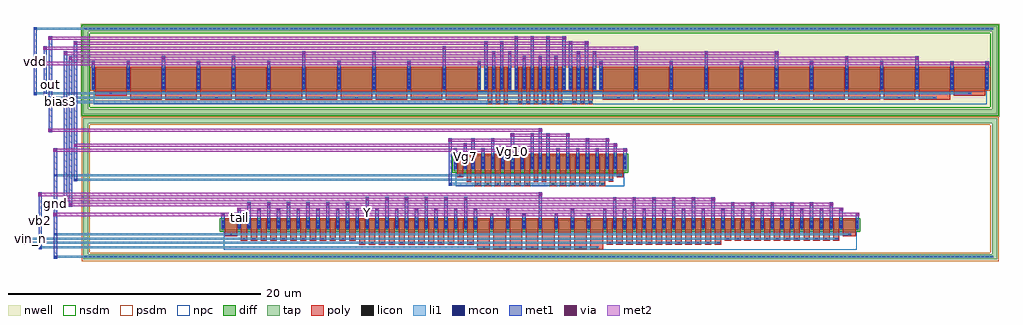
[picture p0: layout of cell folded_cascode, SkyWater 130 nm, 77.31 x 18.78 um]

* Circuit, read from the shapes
.subckt folded_cascode Vg10 Vg7 Vg9 X Y bias3 gnd out tail vb1 vb2 vdd vin_n vin_p
XM1 tail gnd gnd gnd sky130_fd_pr__nfet_01v8 w=0.84 l=1 m=2
XM2 X vin_n tail gnd sky130_fd_pr__nfet_01v8 w=0.84 l=0.5 m=24
XM3 Y vin_p tail gnd sky130_fd_pr__nfet_01v8 w=0.84 l=0.5 m=24
XM4 Vg7 gnd gnd gnd sky130_fd_pr__nfet_01v8 w=1.26 l=0.5 m=2
XM5 Vg9 Vg7 Vg7 gnd sky130_fd_pr__nfet_01v8 w=1.26 l=0.35 m=2
XM6 gnd Vg9 Vg9 gnd sky130_fd_pr__nfet_01v8 w=1.26 l=0.5 m=6
XM7 gnd vb2 tail gnd sky130_fd_pr__nfet_01v8 w=0.84 l=1 m=6
XM8 Vg10 Vg9 gnd gnd sky130_fd_pr__nfet_01v8 w=1.26 l=0.5 m=6
XM9 vb2 vb2 gnd gnd sky130_fd_pr__nfet_01v8 w=0.84 l=1 m=2
XM10 out Vg7 Vg10 gnd sky130_fd_pr__nfet_01v8 w=1.26 l=0.35 m=2
XM11 vdd vdd vdd vdd sky130_fd_pr__pfet_01v8 w=1.65 l=2.5 m=2
XM12 X vb1 vdd vdd sky130_fd_pr__pfet_01v8 w=1.65 l=2.5 m=8
XM13 Y vb1 vdd vdd sky130_fd_pr__pfet_01v8 w=1.65 l=2.5 m=8
XM14 vb1 vb1 vdd vdd sky130_fd_pr__pfet_01v8 w=1.65 l=2.5 m=4
XM15 Y bias3 Vg7 vdd sky130_fd_pr__pfet_01v8 w=1.65 l=0.35 m=6
XM16 X bias3 out vdd sky130_fd_pr__pfet_01v8 w=1.65 l=0.35 m=6
.ends

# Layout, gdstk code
import gdstk
lib = gdstk.Library(unit=1e-6, precision=1e-09)
def R(c, l, rs):  # rectangles x0, y0, x1, y1
    for r in rs: c.add(gdstk.rectangle(r[:2], r[2:], *l))
def A(c, l, x, y, w, h, nx, ny, dx, dy):  # array of equal rectangles
    R(c, l, [(x+i*dx, y+j*dy, x+i*dx+w, y+j*dy+h) for i in range(nx) for j in range(ny)])
nwell = (64, 20)
diff = (65, 20)
tap = (65, 44)
poly = (66, 20)
licon = (66, 44)
li1 = (67, 20)
mcon = (67, 44)
met1 = (68, 20)
via = (68, 44)
met2 = (69, 20)
nsdm = (93, 44)
psdm = (94, 20)
npc = (95, 20)

folded_cascode = lib.new_cell('folded_cascode')
R(folded_cascode, nwell, [(-0.86,11.32,71.91,18.65)])
R(folded_cascode, diff, [(10.28,2.31,60.77,3.15), (28.68,6.98,42.37,8.24), (0,13.47,30.83,15.12), (31.1,13.47,33.24,15.12), (33.51,13.47,37.54,15.12), (37.81,13.47,39.95,15.12), (40.22,13.47,71.05,15.12)])
R(folded_cascode, tap, [(-0.68,0,71.73,0.41), (-0.68,0,-0.27,11.19), (71.32,0,71.73,11.19), (-0.68,10.78,71.73,11.19), (-0.68,11.5,71.73,11.91), (-0.68,11.5,-0.27,18.47), (71.32,11.5,71.73,18.47), (-0.68,18.06,71.73,18.47)])
A(folded_cascode, poly, 30.545, 0.805, 1, 2.475, 8, 1, 1.28, 0)
A(folded_cascode, poly, 21.185, 1.145, 0.5, 2.135, 12, 1, 0.78, 0)
A(folded_cascode, poly, 40.785, 1.145, 0.5, 2.135, 12, 1, 0.78, 0)
A(folded_cascode, poly, 11.825, 1.485, 0.5, 1.795, 12, 1, 0.78, 0)
A(folded_cascode, poly, 50.145, 1.485, 0.5, 1.795, 12, 1, 0.78, 0)
A(folded_cascode, poly, 30.355, 5.815, 0.5, 2.555, 6, 1, 0.78, 0)
A(folded_cascode, poly, 36.295, 5.815, 0.5, 2.555, 6, 1, 0.78, 0)
A(folded_cascode, poly, 31.365, 12.305, 0.35, 2.945, 3, 1, 0.63, 0)
A(folded_cascode, poly, 33.775, 12.305, 0.35, 2.945, 6, 1, 0.63, 0)
A(folded_cascode, poly, 38.075, 12.305, 0.35, 2.945, 3, 1, 0.63, 0)
A(folded_cascode, poly, 3.045, 12.645, 2.5, 2.605, 10, 1, 2.78, 0)
A(folded_cascode, poly, 40.485, 12.645, 2.5, 2.605, 10, 1, 2.78, 0)
R(folded_cascode, poly, [(10.545,1.825,11.545,3.28), (59.505,1.825,60.505,3.28), (29.725,6.155,30.075,8.37), (35.035,6.155,35.385,8.37), (35.665,6.155,36.015,8.37), (40.975,6.155,41.325,8.37), (28.945,6.495,29.445,8.37), (41.605,6.495,42.105,8.37), (0.265,12.985,2.765,15.25), (68.285,12.985,70.785,15.25)])
A(folded_cascode, licon, -0.56, 0.12, 0.17, 0.17, 212, 2, 0.34, 18.06)
A(folded_cascode, licon, 30.96, 0.885, 0.17, 0.17, 8, 1, 1.28, 0)
A(folded_cascode, licon, 21.35, 1.225, 0.17, 0.17, 12, 1, 0.78, 0)
A(folded_cascode, licon, 40.95, 1.225, 0.17, 0.17, 12, 1, 0.78, 0)
A(folded_cascode, licon, 11.99, 1.565, 0.17, 0.17, 12, 1, 0.78, 0)
A(folded_cascode, licon, 50.31, 1.565, 0.17, 0.17, 12, 1, 0.78, 0)
A(folded_cascode, licon, 11.6, 2.475, 0.17, 0.17, 25, 2, 0.78, 0.34)
A(folded_cascode, licon, 31.6, 2.475, 0.17, 0.17, 8, 2, 1.28, 0.34)
A(folded_cascode, licon, 41.34, 2.475, 0.17, 0.17, 24, 2, 0.78, 0.34)
A(folded_cascode, licon, 30.52, 5.895, 0.17, 0.17, 6, 1, 0.78, 0)
A(folded_cascode, licon, 36.46, 5.895, 0.17, 0.17, 6, 1, 0.78, 0)
A(folded_cascode, licon, 28.72, 7.185, 0.17, 0.17, 1, 3, 0, 0.34)
A(folded_cascode, licon, 29.5, 7.185, 0.17, 0.17, 1, 3, 0, 0.34)
A(folded_cascode, licon, 30.13, 7.185, 0.17, 0.17, 7, 3, 0.78, 0.34)
A(folded_cascode, licon, 35.44, 7.185, 0.17, 0.17, 1, 3, 0, 0.34)
A(folded_cascode, licon, 36.07, 7.185, 0.17, 0.17, 7, 3, 0.78, 0.34)
A(folded_cascode, licon, 41.38, 7.185, 0.17, 0.17, 1, 3, 0, 0.34)
A(folded_cascode, licon, 42.16, 7.185, 0.17, 0.17, 1, 3, 0, 0.34)
A(folded_cascode, licon, 31.455, 12.385, 0.17, 0.17, 3, 1, 0.63, 0)
A(folded_cascode, licon, 33.865, 12.385, 0.17, 0.17, 6, 1, 0.63, 0)
A(folded_cascode, licon, 38.165, 12.385, 0.17, 0.17, 3, 1, 0.63, 0)
A(folded_cascode, licon, 4.21, 12.725, 0.17, 0.17, 10, 1, 2.78, 0)
A(folded_cascode, licon, 41.65, 12.725, 0.17, 0.17, 10, 1, 2.78, 0)
A(folded_cascode, licon, 0.04, 13.53, 0.17, 0.17, 12, 5, 2.78, 0.34)
A(folded_cascode, licon, 31.14, 13.53, 0.17, 0.17, 4, 5, 0.63, 0.34)
A(folded_cascode, licon, 33.55, 13.53, 0.17, 0.17, 7, 5, 0.63, 0.34)
A(folded_cascode, licon, 37.85, 13.53, 0.17, 0.17, 4, 5, 0.63, 0.34)
A(folded_cascode, licon, 40.26, 13.53, 0.17, 0.17, 12, 5, 2.78, 0.34)
R(folded_cascode, licon, [(10.96,1.905,11.13,2.075), (59.92,1.905,60.09,2.075), (10.32,2.475,10.49,2.645), (60.56,2.475,60.73,2.645), (10.32,2.815,10.49,2.985), (60.56,2.815,60.73,2.985), (29.815,6.235,29.985,6.405), (35.125,6.235,35.295,6.405), (35.755,6.235,35.925,6.405), (41.065,6.235,41.235,6.405), (29.11,6.575,29.28,6.745), (41.77,6.575,41.94,6.745), (1.43,13.065,1.6,13.235), (69.45,13.065,69.62,13.235)])
A(folded_cascode, li1, 11.6, 2.395, 0.17, 0.67, 25, 1, 0.78, 0)
A(folded_cascode, li1, 31.6, 2.395, 0.17, 0.67, 8, 1, 1.28, 0)
A(folded_cascode, li1, 41.34, 2.395, 0.17, 0.67, 24, 1, 0.78, 0)
A(folded_cascode, li1, 30.13, 7.105, 0.17, 1.01, 7, 1, 0.78, 0)
A(folded_cascode, li1, 36.07, 7.105, 0.17, 1.01, 7, 1, 0.78, 0)
A(folded_cascode, li1, 0.04, 13.45, 0.17, 1.69, 12, 1, 2.78, 0)
A(folded_cascode, li1, 31.14, 13.45, 0.17, 1.69, 4, 1, 0.63, 0)
A(folded_cascode, li1, 33.55, 13.45, 0.17, 1.69, 7, 1, 0.63, 0)
A(folded_cascode, li1, 37.85, 13.45, 0.17, 1.69, 4, 1, 0.63, 0)
A(folded_cascode, li1, 40.26, 13.45, 0.17, 1.69, 12, 1, 2.78, 0)
R(folded_cascode, li1, [(-3,0.12,71.43,0.29), (-4.2,0.885,40.17,1.055), (-5.4,1.225,49.78,1.395), (-5,1.565,59.14,1.735), (-3,1.905,60.17,2.075), (10.32,2.395,10.49,3.065), (60.56,2.395,60.73,3.065), (28.275,5.895,40.61,6.065), (-1.4,6.235,41.315,6.405), (-3,6.575,42.02,6.745), (28.72,7.105,28.89,8.115), (29.5,7.105,29.67,8.115), (35.44,7.105,35.61,8.115), (41.38,7.105,41.55,8.115), (42.16,7.105,42.33,8.115), (-2.6,12.385,39.675,12.555), (-3.8,12.725,66.92,12.895), (-4.6,13.065,69.7,13.235), (-4.6,18.18,71.43,18.35)])
A(folded_cascode, mcon, 11.6, 2.535, 0.17, 0.17, 25, 2, 0.78, 0.36)
A(folded_cascode, mcon, 31.6, 2.535, 0.17, 0.17, 8, 2, 1.28, 0.36)
A(folded_cascode, mcon, 41.34, 2.535, 0.17, 0.17, 24, 2, 0.78, 0.36)
A(folded_cascode, mcon, 28.72, 7.225, 0.17, 0.17, 1, 3, 0, 0.36)
A(folded_cascode, mcon, 29.5, 7.225, 0.17, 0.17, 1, 3, 0, 0.36)
A(folded_cascode, mcon, 30.13, 7.225, 0.17, 0.17, 7, 3, 0.78, 0.36)
A(folded_cascode, mcon, 35.44, 7.225, 0.17, 0.17, 1, 3, 0, 0.36)
A(folded_cascode, mcon, 36.07, 7.225, 0.17, 0.17, 7, 3, 0.78, 0.36)
A(folded_cascode, mcon, 41.38, 7.225, 0.17, 0.17, 1, 3, 0, 0.36)
A(folded_cascode, mcon, 42.16, 7.225, 0.17, 0.17, 1, 3, 0, 0.36)
A(folded_cascode, mcon, 0.04, 13.53, 0.17, 0.17, 12, 5, 2.78, 0.36)
A(folded_cascode, mcon, 31.14, 13.53, 0.17, 0.17, 4, 5, 0.63, 0.36)
A(folded_cascode, mcon, 33.55, 13.53, 0.17, 0.17, 7, 5, 0.63, 0.36)
A(folded_cascode, mcon, 37.85, 13.53, 0.17, 0.17, 4, 5, 0.63, 0.36)
A(folded_cascode, mcon, 40.26, 13.53, 0.17, 0.17, 12, 5, 2.78, 0.36)
R(folded_cascode, mcon, [(-2.955,0.12,-2.785,0.29), (-4.155,0.885,-3.985,1.055), (-5.355,1.225,-5.185,1.395), (-4.955,1.565,-4.785,1.735), (-2.955,1.905,-2.785,2.075), (10.32,2.535,10.49,2.705), (60.56,2.535,60.73,2.705), (10.32,2.895,10.49,3.065), (60.56,2.895,60.73,3.065), (28.32,5.895,28.49,6.065), (-1.355,6.235,-1.185,6.405), (-2.955,6.575,-2.785,6.745), (-2.555,12.385,-2.385,12.555), (-3.755,12.725,-3.585,12.895), (-4.555,13.065,-4.385,13.235), (-4.555,18.18,-4.385,18.35)])
A(folded_cascode, met1, 11.555, 2.475, 0.26, 1.635, 13, 1, 1.56, 0)
A(folded_cascode, met1, 12.335, 2.475, 0.26, 2.035, 6, 1, 1.56, 0)
A(folded_cascode, met1, 21.695, 2.475, 0.26, 2.435, 6, 1, 1.56, 0)
A(folded_cascode, met1, 31.555, 2.475, 0.26, 1.235, 4, 1, 2.56, 0)
A(folded_cascode, met1, 40.515, 2.475, 0.26, 1.635, 13, 1, 1.56, 0)
A(folded_cascode, met1, 41.295, 2.475, 0.26, 2.435, 6, 1, 1.56, 0)
A(folded_cascode, met1, 50.655, 2.475, 0.26, 2.035, 6, 1, 1.56, 0)
A(folded_cascode, met1, 30.865, 7.165, 0.26, 1.635, 3, 1, 1.56, 0)
A(folded_cascode, met1, 36.805, 7.165, 0.26, 1.635, 3, 1, 1.56, 0)
A(folded_cascode, met1, 2.775, 13.47, 0.26, 2.21, 6, 1, 5.56, 0)
A(folded_cascode, met1, 33.505, 13.47, 0.26, 4.21, 4, 1, 1.26, 0)
A(folded_cascode, met1, 34.135, 13.47, 0.26, 2.61, 3, 1, 1.26, 0)
A(folded_cascode, met1, 40.215, 13.47, 0.26, 2.21, 6, 1, 5.56, 0)
R(folded_cascode, met1, [(-3,0.06,-2.74,8.8), (-4.2,0.825,-3.94,5.31), (-5.4,1.165,-5.14,1.49), (-5,1.505,-4.74,1.83), (10.275,2.475,10.535,3.71), (32.835,2.475,33.095,4.11), (35.395,2.475,35.655,5.31), (37.955,2.475,38.215,4.11), (60.515,2.475,60.775,3.71), (-1.8,4.19,-1.54,16.08), (-2.2,4.59,-1.94,16.48), (28.275,5.835,28.535,9.6), (-1.4,6.175,-1.14,17.28), (28.675,7.165,28.935,8.8), (29.455,7.165,29.715,9.2), (30.085,7.165,30.345,9.6), (31.645,7.165,31.905,9.6), (33.205,7.165,33.465,10), (34.765,7.165,35.025,10), (35.395,7.165,35.655,10.4), (36.025,7.165,36.285,10), (37.585,7.165,37.845,10), (39.145,7.165,39.405,9.6), (40.705,7.165,40.965,9.6), (41.335,7.165,41.595,9.2), (42.115,7.165,42.375,8.8), (-3.4,10.08,-3.14,17.68), (-2.6,12.325,-2.34,12.65), (-3.8,12.665,-3.54,16.88), (-4.6,13.005,-4.34,18.41), (-0.005,13.47,0.255,15.68), (5.555,13.47,5.815,16.08), (11.115,13.47,11.375,16.08), (16.675,13.47,16.935,16.48), (22.235,13.47,22.495,16.48), (27.795,13.47,28.055,16.88), (31.095,13.47,31.355,17.28), (31.725,13.47,31.985,16.48), (32.355,13.47,32.615,17.28), (32.985,13.47,33.245,16.48), (37.805,13.47,38.065,17.28), (38.435,13.47,38.695,16.48), (39.065,13.47,39.325,17.28), (39.695,13.47,39.955,16.48), (42.995,13.47,43.255,16.88), (48.555,13.47,48.815,16.48), (54.115,13.47,54.375,16.48), (59.675,13.47,59.935,16.08), (65.235,13.47,65.495,16.08), (70.795,13.47,71.055,15.68)])
A(folded_cascode, via, 31.61, 3.475, 0.15, 0.15, 4, 1, 2.56, 0)
A(folded_cascode, via, 11.61, 3.875, 0.15, 0.15, 13, 1, 1.56, 0)
A(folded_cascode, via, 40.57, 3.875, 0.15, 0.15, 13, 1, 1.56, 0)
A(folded_cascode, via, 12.39, 4.275, 0.15, 0.15, 6, 1, 1.56, 0)
A(folded_cascode, via, 50.71, 4.275, 0.15, 0.15, 6, 1, 1.56, 0)
A(folded_cascode, via, 21.75, 4.675, 0.15, 0.15, 6, 1, 1.56, 0)
A(folded_cascode, via, 41.35, 4.675, 0.15, 0.15, 6, 1, 1.56, 0)
A(folded_cascode, via, 30.92, 8.565, 0.15, 0.15, 3, 1, 1.56, 0)
A(folded_cascode, via, 36.86, 8.565, 0.15, 0.15, 3, 1, 1.56, 0)
A(folded_cascode, via, 2.83, 15.445, 0.15, 0.15, 6, 1, 5.56, 0)
A(folded_cascode, via, 40.27, 15.445, 0.15, 0.15, 6, 1, 5.56, 0)
A(folded_cascode, via, 34.19, 15.845, 0.15, 0.15, 3, 1, 1.26, 0)
A(folded_cascode, via, 33.56, 17.445, 0.15, 0.15, 4, 1, 1.26, 0)
R(folded_cascode, via, [(-2.945,3.475,-2.795,3.625), (10.33,3.475,10.48,3.625), (60.57,3.475,60.72,3.625), (32.89,3.875,33.04,4.025), (38.01,3.875,38.16,4.025), (-1.745,4.275,-1.595,4.425), (-2.145,4.675,-1.995,4.825), (-4.145,5.075,-3.995,5.225), (35.45,5.075,35.6,5.225), (-2.945,8.565,-2.795,8.715), (28.73,8.565,28.88,8.715), (42.17,8.565,42.32,8.715), (-1.345,8.965,-1.195,9.115), (29.51,8.965,29.66,9.115), (41.39,8.965,41.54,9.115), (28.33,9.365,28.48,9.515), (30.14,9.365,30.29,9.515), (31.7,9.365,31.85,9.515), (39.2,9.365,39.35,9.515), (40.76,9.365,40.91,9.515), (33.26,9.765,33.41,9.915), (34.82,9.765,34.97,9.915), (36.08,9.765,36.23,9.915), (37.64,9.765,37.79,9.915), (-3.345,10.165,-3.195,10.315), (35.45,10.165,35.6,10.315), (-4.545,15.445,-4.395,15.595), (0.05,15.445,0.2,15.595), (70.85,15.445,71,15.595), (-1.745,15.845,-1.595,15.995), (5.61,15.845,5.76,15.995), (11.17,15.845,11.32,15.995), (59.73,15.845,59.88,15.995), (65.29,15.845,65.44,15.995), (-2.145,16.245,-1.995,16.395), (16.73,16.245,16.88,16.395), (22.29,16.245,22.44,16.395), (31.78,16.245,31.93,16.395), (33.04,16.245,33.19,16.395), (38.49,16.245,38.64,16.395), (39.75,16.245,39.9,16.395), (48.61,16.245,48.76,16.395), (54.17,16.245,54.32,16.395), (-3.745,16.645,-3.595,16.795), (27.85,16.645,28,16.795), (43.05,16.645,43.2,16.795), (-1.345,17.045,-1.195,17.195), (31.15,17.045,31.3,17.195), (32.41,17.045,32.56,17.195), (37.86,17.045,38.01,17.195), (39.12,17.045,39.27,17.195), (-3.345,17.445,-3.195,17.595)])
R(folded_cascode, met2, [(-3.03,3.42,60.805,3.68), (11.525,3.82,59.525,4.08), (-1.83,4.22,58.745,4.48), (-2.23,4.62,49.385,4.88), (-4.23,5.02,35.685,5.28), (-3.03,8.51,42.405,8.77), (-1.43,8.91,41.625,9.17), (28.245,9.31,40.995,9.57), (33.175,9.71,37.875,9.97), (-3.43,10.11,35.685,10.37), (-4.63,15.39,71.085,15.65), (-1.83,15.79,65.525,16.05), (-2.23,16.19,54.405,16.45), (-3.83,16.59,43.285,16.85), (-1.43,16.99,39.355,17.25), (-3.43,17.39,37.575,17.65)])
R(folded_cascode, nsdm, [(10.155,2.185,60.895,3.275), (28.555,6.855,42.495,8.365), (-0.805,11.375,71.855,12.035), (-0.805,11.375,-0.145,18.595), (71.195,11.375,71.855,18.595), (-0.805,17.935,71.855,18.595)])
R(folded_cascode, psdm, [(-0.805,-0.125,71.855,0.535), (-0.805,-0.125,-0.145,11.315), (71.195,-0.125,71.855,11.315), (-0.805,10.655,71.855,11.315), (-0.125,13.345,71.175,15.245)])
R(folded_cascode, npc, [(10.445,0.785,60.605,2.175), (28.845,5.795,42.205,6.845), (0.165,12.285,70.885,13.335)])
folded_cascode.add(gdstk.Label('tail', (11.685,3.295), layer=68, texttype=5))
folded_cascode.add(gdstk.Label('X', (12.465,3.495), layer=68, texttype=5))
folded_cascode.add(gdstk.Label('Y', (21.825,3.69), layer=68, texttype=5))
folded_cascode.add(gdstk.Label('Vg7', (29.585,8.185), layer=68, texttype=5))
folded_cascode.add(gdstk.Label('Vg9', (30.215,8.38), layer=68, texttype=5))
folded_cascode.add(gdstk.Label('Vg10', (33.335,8.585), layer=68, texttype=5))
folded_cascode.add(gdstk.Label('bias3', (-2.47,12.485), layer=68, texttype=5))
folded_cascode.add(gdstk.Label('gnd', (-2.87,4.43), layer=68, texttype=5))
folded_cascode.add(gdstk.Label('out', (-3.27,13.88), layer=68, texttype=5))
folded_cascode.add(gdstk.Label('vb1', (-3.67,14.77), layer=68, texttype=5))
folded_cascode.add(gdstk.Label('vb2', (-4.07,3.07), layer=68, texttype=5))
folded_cascode.add(gdstk.Label('vdd', (-4.47,15.71), layer=68, texttype=5))
folded_cascode.add(gdstk.Label('vin_n', (-4.87,1.665), layer=68, texttype=5))
folded_cascode.add(gdstk.Label('vin_p', (-5.27,1.325), layer=68, texttype=5))

lib.write_gds('folded_cascode.gds')
